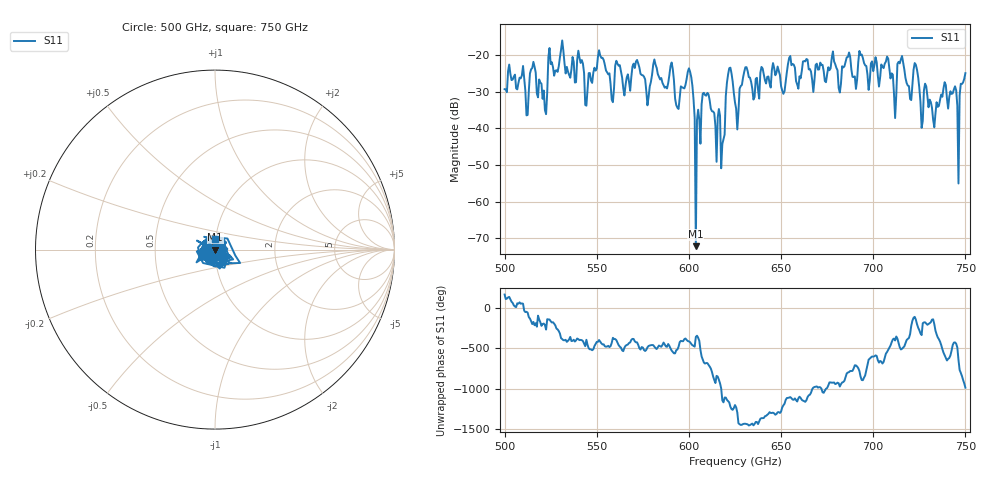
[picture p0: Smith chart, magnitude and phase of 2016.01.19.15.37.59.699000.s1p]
!Created with skrf (http://scikit-rf.org).
# GHz S RI R 50.0
!freq ReS11 ImS11
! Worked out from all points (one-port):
!   401 points, 500 GHz to 750 GHz, reference 50 ohm
!   lowest |S11| = -72.1 dB at 603.8 GHz (marker M1), VSWR 1.00, Z = 50 - j0.000297 ohm
!   |S11| at or under -10 dB: start of sweep to end of sweep
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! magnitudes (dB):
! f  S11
! 500 GHz  -29.3
! 512.5 GHz  -36.3
! 515.6 GHz  -21.8
! 521.9 GHz  -35.0
! 525 GHz  -22.4
! 531.2 GHz  -16.0
! 544.4 GHz  -33.8
! 551.9 GHz  -20.1
! 558.1 GHz  -32.2
! 562.5 GHz  -22.7
! 590.6 GHz  -22.0
! 593.8 GHz  -34.4
! 600.6 GHz  -24.5
! 603.8 GHz  -72.1
! 608.8 GHz  -30.9
! 618.1 GHz  -44.3
! 621.9 GHz  -23.6
! 625 GHz  -32.9
! 630.6 GHz  -23.3
! 651.2 GHz  -30.6
! 656.2 GHz  -22.4
! 687.5 GHz  -20.5
! 707.5 GHz  -20.4
! 711.2 GHz  -30.5
! 715 GHz  -21.2
! 718.8 GHz  -28.3
! 745.6 GHz  -33.8
! 750 GHz  -24.9
